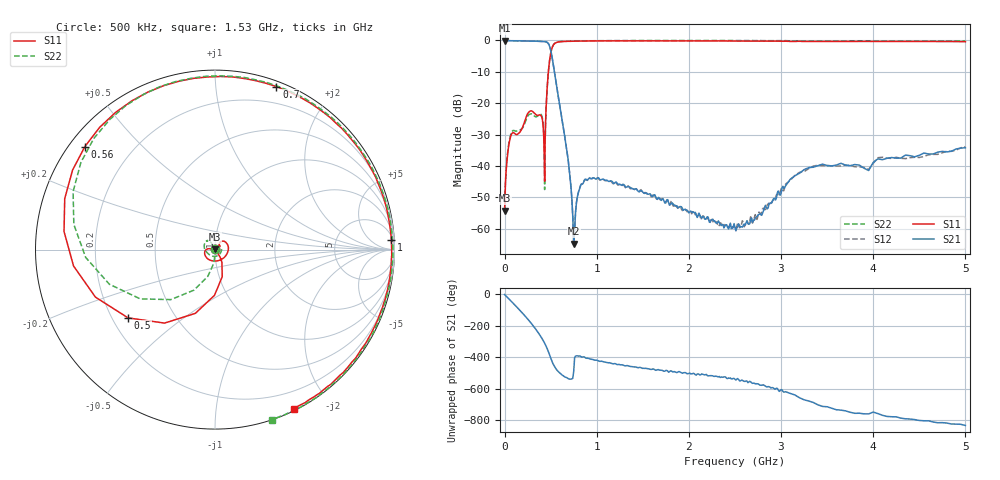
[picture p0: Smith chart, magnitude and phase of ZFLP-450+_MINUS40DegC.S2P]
! Mini-Circuits
! S2P DATA File Format
! Type: LOW PASS FILTER
! Model: ZFLP-450+
! All S Parameters are in dB deg format
! TEST CONDITIONS: INPUT POWER = 0 dBm @ Temperature = - 40 deg C
! 401 Frequency points
# MHz S DB R 50
!FREQMAG(S11)PHS(S11)MAG(S21)PHS(S21)MAG(S12)PHS(S12)MAG(S22)PHS(S22)
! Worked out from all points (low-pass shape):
!   391 points, 500 kHz to 5 GHz, reference 50 ohm
!   highest |S21| = -0.01 dB at 500 kHz (marker M1); lowest = -64.8 dB at 750 MHz (marker M2)
!   |S21| within 3 dB of the highest: start of sweep to 500.1 MHz
!   lowest |S11| = -54.3 dB at 500 kHz (marker M3), VSWR 1.00, Z = 50.2 + j0.0662 ohm
!   |S11| at or under -10 dB: start of sweep to 475.7 MHz
!   |S22| runs from -54.5 to 0.0 dB; largest |S21 - S12| = 0.0066
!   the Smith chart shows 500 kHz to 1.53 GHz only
!   S11 on the Smith chart (normalised r, x): 500 kHz: 1.00, +0.00; 500 MHz: 0.26, -0.32; 560 MHz: 0.04, +0.35; 700 MHz: 0.05, +1.44; 1 GHz: 10, +34; 1.53 GHz: 0.02, -1.61
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0.5  -54.26 19.9  -0.01 -0.3  -0.02 -0.3  -54.53 19.9
50  -32.64 58.1  -0.06 -29.8  -0.07 -29.8  -32.00 30.9
145  -29.76 39.5  -0.11 -87.2  -0.11 -87.3  -28.84 -51.3
280  -22.47 21.6  -0.19 -176.3  -0.20 -176.4  -23.42 144.8
340  -23.61 -50.8  -0.24 138.4  -0.23 138.3  -24.32 127.2
410  -25.17 -173.7  -0.31 76.7  -0.31 76.6  -24.70 124.3
425  -30.71 169.2  -0.33 61.4  -0.33 61.3  -29.66 117.1
435  -44.85 -91.8  -0.35 50.4  -0.34 50.2  -47.50 -178.6
450  -21.94 -61.2  -0.41 32.4  -0.42 32.3  -22.23 -95.3
500  -4.21 -141.9  -2.99 -42.5  -3.07 -42.6  -4.16 -161.8
560  -0.68 141.6  -13.49 -114.2  -13.43 -114.5  -0.61 129.1
700  -0.26 69.4  -40.63 -177.3  -40.59 -177.3  -0.20 62.5
750  -0.23 54.3  -64.79 -130.2  -65.54 -125.9  -0.16 48.0
780  -0.22 46.3  -51.69 -30.4  -51.55 -30.1  -0.15 40.4
840  -0.18 32.5  -45.72 -38.0  -45.74 -38.1  -0.12 26.8
1000  -0.14 3.1  -44.06 -57.4  -43.91 -57.8  -0.07 -2.7
1530  -0.10 -63.7  -48.60 -109.2  -48.46 -109.6  -0.01 -71.5
1670  -0.10 -78.1  -50.01 -117.5  -50.00 -118.8  -0.01 -86.5
2510  -0.17 -154.2  -60.67 176.4  -59.75 -173.7  -0.02 -166.7
3350  -0.30 136.6  -40.38 33.5  -40.02 30.0  -0.14 120.8
4200  -0.31 70.3  -37.29 -57.0  -37.58 -61.3  -0.14 52.1
5000  -0.39 8.7  -34.18 -112.5  -33.83 -111.8  -0.14 -12.4
